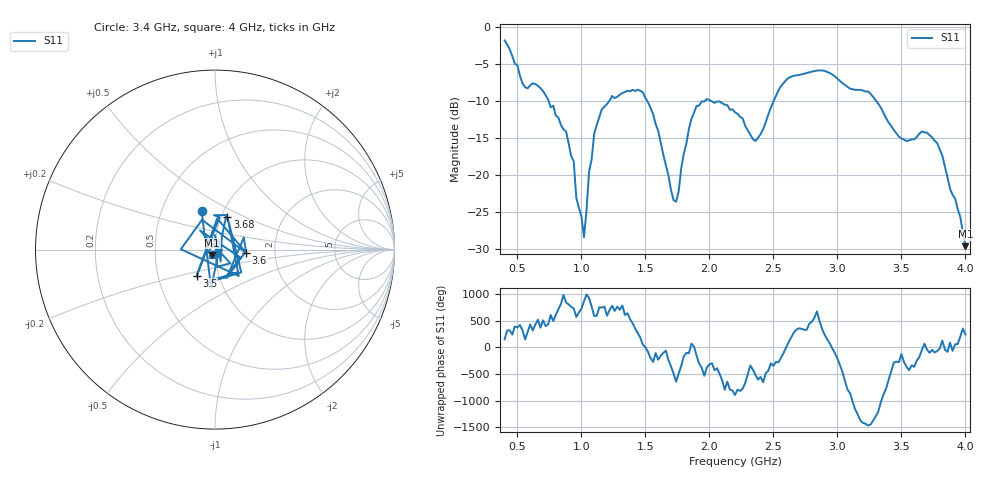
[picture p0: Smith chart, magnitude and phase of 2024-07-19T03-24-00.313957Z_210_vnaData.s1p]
!Created with skrf (http://scikit-rf.org).
# Hz S RI R 50.0
!freq ReS11 ImS11
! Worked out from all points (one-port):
!   181 points, 400 MHz to 4 GHz, reference 50 ohm
!   lowest |S11| = -29.6 dB at 4 GHz (marker M1), VSWR 1.07, Z = 48.4 - j2.86 ohm
!   |S11| at or under -10 dB: 743.8 MHz to 1.217 GHz (473.2 MHz wide, 48.3 % of centre); 2.017 GHz to 2.502 GHz (485.1 MHz wide, 21.5 % of centre); 3.303 GHz to end of sweep (the widest 3 of 4)
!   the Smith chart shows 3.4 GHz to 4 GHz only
!   S11 on the Smith chart (normalised r, x): 3.4 GHz: 0.79, +0.36; 3.5 GHz: 0.78, -0.23; 3.6 GHz: 1.42, -0.05; 3.68 GHz: 1.07, +0.40; 4 GHz: 0.97, -0.06
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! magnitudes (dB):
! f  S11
! 400 MHz  -1.8
! 540 MHz  -7.6
! 680 MHz  -8.2
! 860 MHz  -13.8
! 940 MHz  -18.1
! 960 MHz  -23.0
! 1.02 GHz  -28.4
! 1.06 GHz  -19.5
! 1.1 GHz  -14.4
! 1.3 GHz  -9.1
! 1.48 GHz  -8.8
! 1.6 GHz  -14.0
! 1.72 GHz  -23.4
! 1.76 GHz  -22.2
! 1.84 GHz  -13.7
! 1.9 GHz  -10.6
! 2.2 GHz  -11.5
! 2.36 GHz  -15.4
! 2.66 GHz  -6.6
! 3.1 GHz  -8.3
! 3.24 GHz  -8.7
! 3.4 GHz  -12.9
! 3.5 GHz  -15.0
! 3.56 GHz  -15.3
! 3.6 GHz  -15.2
! 3.68 GHz  -14.2
! 3.82 GHz  -17.4
! 4 GHz  -29.6
